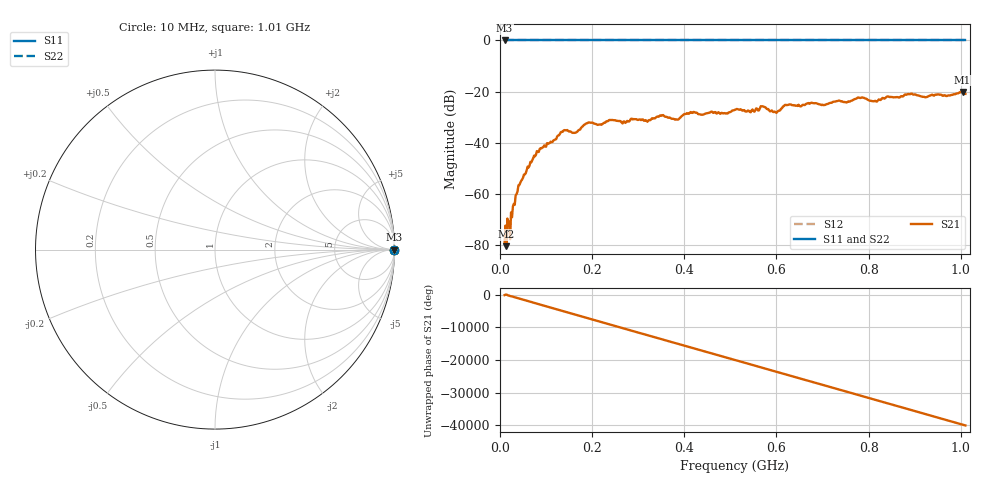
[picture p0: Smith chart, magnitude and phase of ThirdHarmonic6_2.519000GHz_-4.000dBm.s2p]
! 8/17/2025 4:56:45 AM
! C:\ANRITSUVNA\TEMP\TEMP.S2P
! CHANNEL.1
! TR.MEASUREMENT
! RAW.DATA
! RF.CORRECTION.OFF
! AVERAGING.OFF
! IF.BANDWIDTH: 5KHZ
! SWEEPTYPE:  FREQ.SWEEP(Linear)
! Reference Plane Port Info
! PORT:  PORT1  PORT2
! DISTANCE:  0  m  0  m
! TIME:  0  s  0  s
! PHASE.OFFSET:  0  deg.  0  deg.
! LOSS:  0  dB  0  dB
! REF.LOSS:  0  dB  0  dB
! REF.FREQ:  0  Hz  0  Hz
! Power Info
! POWER:  -20  dBm  -20  dBm
! EFF.POWER:  -20  dBm  -20  dBm
! SOURCE.ATTEN:  0  dB  0  dB
! TEST.ATTEN:  0  dB  0  dB
# GHZ S RI R 50.0
! FREQ.GHZ  S11RE  S11IM  S21RE  S21IM  S12RE  S12IM  S22RE  S22IM
!; PortSelection: Port_12
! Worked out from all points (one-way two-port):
!   501 points, 10 MHz to 1.01 GHz, reference 50 ohm
!   highest |S21| = -20.17 dB at 1.004 GHz (marker M1); lowest = -80.5 dB at 14 MHz (marker M2)
!   lowest |S11| = 0.0 dB at 10 MHz (marker M3)
!   |S11| at or under -10 dB: nowhere
!   |S22| runs from 0.0 to 0.0 dB; largest |S21 - S12| = 1.1
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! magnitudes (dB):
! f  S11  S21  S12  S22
! 10 MHz  0.0  -79.1  0.0  0.0
! 14 MHz  0.0  -80.5  0.0  0.0
! 16 MHz  0.0  -69.7  0.0  0.0
! 18 MHz  0.0  -71.6  0.0  0.0
! 42 MHz  0.0  -56.6  0.0  0.0
! 78 MHz  0.0  -44.8  0.0  0.0
! 136 MHz  0.0  -35.8  0.0  0.0
! 162 MHz  0.0  -36.2  0.0  0.0
! 178 MHz  0.0  -33.8  0.0  0.0
! 344 MHz  0.0  -29.9  0.0  0.0
! 384 MHz  0.0  -31.0  0.0  0.0
! 416 MHz  0.0  -28.3  0.0  0.0
! 510 MHz  0.0  -27.1  0.0  0.0
! 570 MHz  0.0  -25.8  0.0  0.0
! 598 MHz  0.0  -28.1  0.0  0.0
! 622 MHz  0.0  -25.3  0.0  0.0
! 678 MHz  0.0  -24.5  0.0  0.0
! 782 MHz  0.0  -22.5  0.0  0.0
! 814 MHz  0.0  -23.6  0.0  0.0
! 844 MHz  0.0  -22.1  0.0  0.0
! 1.004 GHz  0.0  -20.2  0.0  0.0
! 1.01 GHz  0.0  -20.9  0.0  0.0
